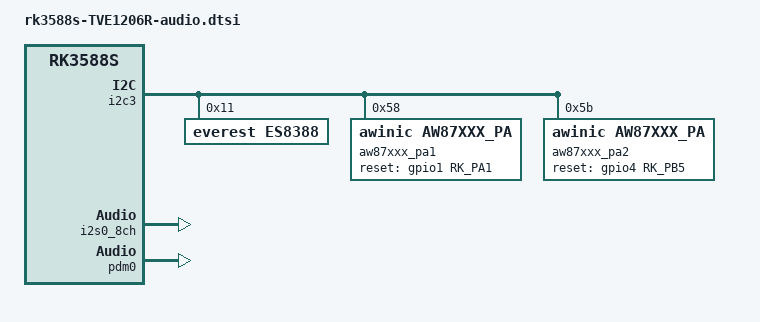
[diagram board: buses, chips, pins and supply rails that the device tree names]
// SPDX-License-Identifier: (GPL-2.0+ OR MIT)
/*
 * Copyright (c) 2021 Rockchip Electronics Co., Ltd.
 *
 */

/ {
	es8388_sound: es8388-sound {
		status = "okay";
		compatible = "simple-audio-card";
		simple-audio-card,format = "i2s";
		simple-audio-card,mclk-fs = <256>;
		simple-audio-card,name = "rockchip-es8388";
		simple-audio-card,aux-devs = <&aw87xxx_pa1 &aw87xxx_pa2>;
		simple-audio-card,dai-link@0 {
			format = "i2s";
			cpu {
				sound-dai = <&i2s0_8ch>;
			};
			codec {
				sound-dai = <&es8388>;
			};
		};
	};

	pdmics: dummy-codec {
		status = "okay";
		compatible = "rockchip,dummy-codec";
		#sound-dai-cells = <0>;
	};

	pdmmic_sound: pdmmic-sound {
		status = "okay";
		compatible = "simple-audio-card";
		simple-audio-card,format = "i2s";
		simple-audio-card,name = "rockchip-pdm";
		simple-audio-card,mclk-fs = <256>;
		simple-audio-card,dai-link@0 {
			format = "pdm";
			cpu {
				sound-dai = <&pdm0>;
			};
			codec {
				sound-dai = <&pdmics>;
			};
		};
	};
};

&i2c3 {
	status = "okay";
	pinctrl-names = "default";
	pinctrl-0 = <&i2c3m0_xfer>;

	es8388: es8388@11 {
		status = "okay";
		#sound-dai-cells = <0>;
		compatible = "everest,es8388", "everest,es8323";
		reg = <0x11>;
		clocks = <&mclkout_i2s0>;
		clock-names = "mclk";
		assigned-clocks = <&mclkout_i2s0>;
		assigned-clock-rates = <12288000>;
		pinctrl-names = "default";
		pinctrl-0 = <&i2s0_mclk>;
	};

	aw87xxx_pa1: aw87xxx_pa1@58 {
		compatible = "awinic,aw87xxx_pa";
		#sound-dai-cells = <0>;
		reg = <0x58>;
		dev_index = < 0 >;
		reset-gpio = <&gpio1 RK_PA1 GPIO_ACTIVE_HIGH>;
		status = "okay";
	};

	aw87xxx_pa2: aw87xxx_pa2@5b {
		compatible = "awinic,aw87xxx_pa";
		#sound-dai-cells = <0>;
		reg = <0x5b>;
		dev_index = < 1 >;
		reset-gpio = <&gpio4 RK_PB5 GPIO_ACTIVE_HIGH>;
		status = "okay";
	};
};

&i2s0_8ch {
	status = "okay";
	pinctrl-0 = <&i2s0_lrck
		     &i2s0_sclk
		     &i2s0_sdi0
		     &i2s0_sdo0>;
};

&pdm0 {
	status = "okay";
	rockchip,path-map = <1 0 2 3>;
	pinctrl-names = "default";
	pinctrl-0 = <&pdm0m0_clk &pdm0m0_sdi1>;
	#sound-dai-cells = <0>;
};

&pinctrl {
	
};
